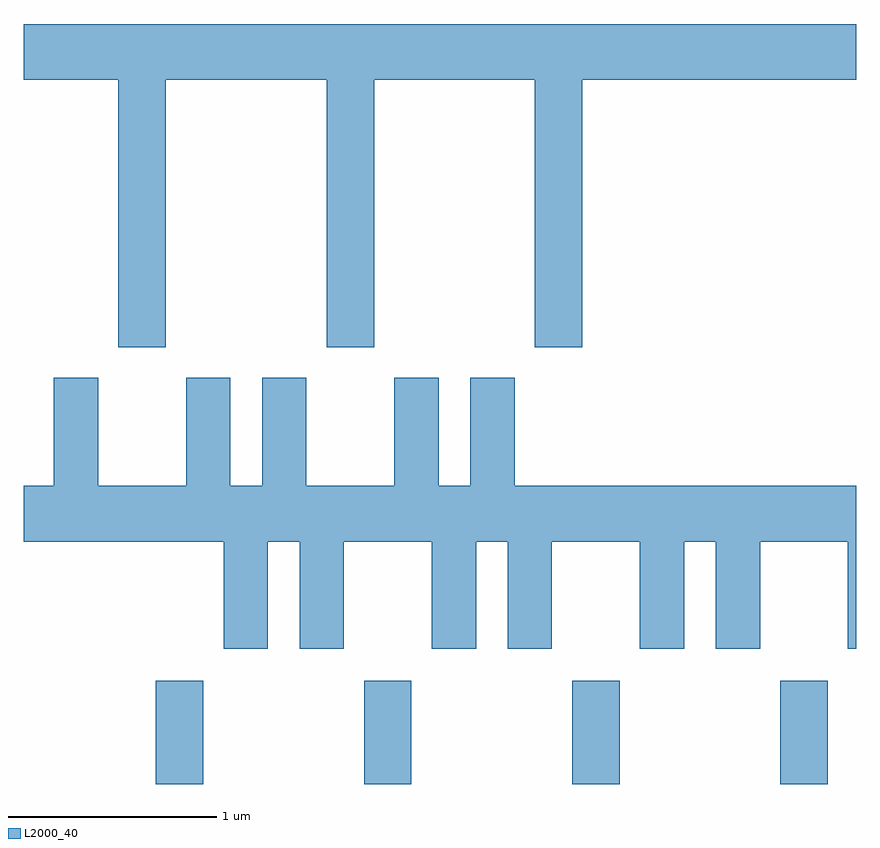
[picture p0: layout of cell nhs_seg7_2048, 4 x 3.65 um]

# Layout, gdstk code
import gdstk
lib = gdstk.Library(unit=1e-6, precision=1e-09)
def R(c, l, rs):  # rectangles x0, y0, x1, y1
    for r in rs: c.add(gdstk.rectangle(r[:2], r[2:], *l))
def A(c, l, x, y, w, h, nx, ny, dx, dy):  # array of equal rectangles
    R(c, l, [(x+i*dx, y+j*dy, x+i*dx+w, y+j*dy+h) for i in range(nx) for j in range(ny)])
def P(c, l, *ps):  # polygons
    for p in ps: c.add(gdstk.Polygon(p, *l))
L2000_40 = (2000, 40)

nhs_seg7_2048 = lib.new_cell('nhs_seg7_2048')
A(nhs_seg7_2048, L2000_40, 248.246, 1724.252, 0.228, 0.497, 4, 1, 1, 0)
P(nhs_seg7_2048, L2000_40, [(248.294,1727.636),(249.066,1727.636),(249.066,1726.351),(249.294,1726.351),(249.294,1727.636),(250.066,1727.636),(250.066,1726.351),(250.294,1726.351),(250.294,1727.636),(251.611,1727.636),(251.611,1727.904),(247.611,1727.904),(247.611,1727.636),(248.066,1727.636),(248.066,1726.351),(248.294,1726.351)],
  [(248.784,1725.416),(248.936,1725.416),(248.936,1724.901),(249.149,1724.901),(249.149,1725.416),(249.571,1725.416),(249.571,1724.901),(249.784,1724.901),(249.784,1725.416),(249.936,1725.416),(249.936,1724.901),(250.149,1724.901),(250.149,1725.416),(250.571,1725.416),(250.571,1724.901),(250.784,1724.901),(250.784,1725.416),(250.936,1725.416),(250.936,1724.901),(251.149,1724.901),(251.149,1725.416),(251.571,1725.416),(251.571,1724.901),(251.611,1724.901),(251.611,1725.684),(249.969,1725.684),(249.969,1726.204),(249.756,1726.204),(249.756,1725.684),(249.604,1725.684),(249.604,1726.204),(249.391,1726.204),(249.391,1725.684),(248.969,1725.684),(248.969,1726.204),(248.756,1726.204),(248.756,1725.684),(248.604,1725.684),(248.604,1726.204),(248.391,1726.204),(248.391,1725.684),(247.969,1725.684),(247.969,1726.204),(247.756,1726.204),(247.756,1725.684),(247.611,1725.684),(247.611,1725.416),(248.571,1725.416),(248.571,1724.901),(248.784,1724.901)])

lib.write_gds('nhs_seg7_2048.gds')
